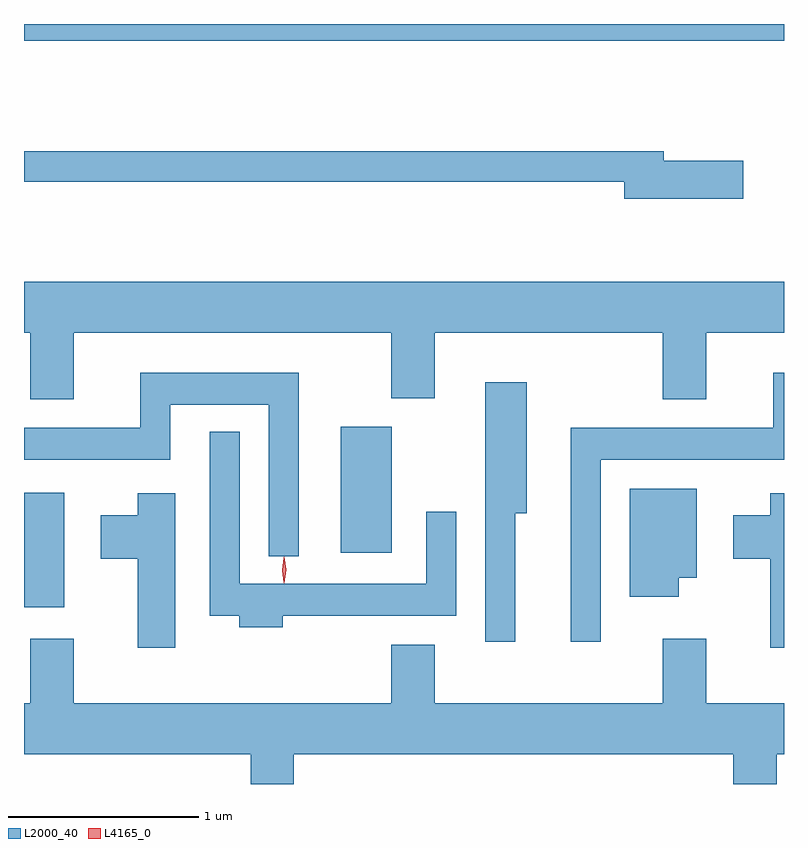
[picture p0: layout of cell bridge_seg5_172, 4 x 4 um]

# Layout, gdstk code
import gdstk
lib = gdstk.Library(unit=1e-6, precision=1e-09)
def R(c, l, rs):  # rectangles x0, y0, x1, y1
    for r in rs: c.add(gdstk.rectangle(r[:2], r[2:], *l))
def P(c, l, *ps):  # polygons
    for p in ps: c.add(gdstk.Polygon(p, *l))
L2000_40 = (2000, 40)
L4165_0 = (4165, 0)

bridge_seg5_172 = lib.new_cell('bridge_seg5_172')
R(bridge_seg5_172, L2000_40, [(1335.058,1433.151,1335.269,1433.754), (1336.726,1433.436,1336.994,1434.099), (1335.058,1436.131,1339.058,1436.22)])
P(bridge_seg5_172, L2000_40, [(1338.844,1435.499),(1338.424,1435.499),(1338.424,1435.549),(1335.058,1435.549),(1335.058,1435.391),(1338.216,1435.391),(1338.216,1435.301),(1338.844,1435.301)],
  [(1335.319,1434.596),(1336.991,1434.596),(1336.991,1434.251),(1337.219,1434.251),(1337.219,1434.596),(1338.421,1434.596),(1338.421,1434.246),(1338.649,1434.246),(1338.649,1434.596),(1339.058,1434.596),(1339.058,1434.864),(1335.058,1434.864),(1335.058,1434.596),(1335.091,1434.596),(1335.091,1434.246),(1335.319,1434.246)],
  [(1336.504,1434.384),(1335.671,1434.384),(1335.671,1434.094),(1335.058,1434.094),(1335.058,1433.926),(1335.829,1433.926),(1335.829,1434.216),(1336.346,1434.216),(1336.346,1433.418),(1336.504,1433.418)],
  [(1338.094,1433.926),(1339.058,1433.926),(1339.058,1434.384),(1339.001,1434.384),(1339.001,1434.094),(1337.936,1434.094),(1337.936,1432.968),(1338.094,1432.968)],
  [(1337.644,1433.646),(1337.704,1433.646),(1337.704,1434.334),(1337.486,1434.334),(1337.486,1432.968),(1337.644,1432.968)],
  [(1336.419,1433.106),(1337.334,1433.106),(1337.334,1433.653),(1337.176,1433.653),(1337.176,1433.274),(1336.194,1433.274),(1336.194,1434.073),(1336.036,1434.073),(1336.036,1433.106),(1336.191,1433.106),(1336.191,1433.046),(1336.419,1433.046)],
  [(1338.504,1433.306),(1338.599,1433.306),(1338.599,1433.774),(1338.246,1433.774),(1338.246,1433.206),(1338.504,1433.206)],
  [(1335.854,1433.749),(1335.656,1433.749),(1335.656,1433.634),(1335.461,1433.634),(1335.461,1433.406),(1335.656,1433.406),(1335.656,1432.936),(1335.854,1432.936)],
  [(1339.058,1433.749),(1338.986,1433.749),(1338.986,1433.634),(1338.791,1433.634),(1338.791,1433.406),(1338.986,1433.406),(1338.986,1432.936),(1339.058,1432.936)],
  [(1336.479,1432.376),(1338.791,1432.376),(1338.791,1432.22),(1339.019,1432.22),(1339.019,1432.376),(1339.058,1432.376),(1339.058,1432.644),(1338.649,1432.644),(1338.649,1432.984),(1338.421,1432.984),(1338.421,1432.644),(1337.219,1432.644),(1337.219,1432.954),(1336.991,1432.954),(1336.991,1432.644),(1335.319,1432.644),(1335.319,1432.984),(1335.091,1432.984),(1335.091,1432.644),(1335.058,1432.644),(1335.058,1432.376),(1336.251,1432.376),(1336.251,1432.22),(1336.479,1432.22)])
P(bridge_seg5_172, L4165_0, [(1336.427,1433.277),(1336.427,1433.277),(1336.417,1433.347),(1336.427,1433.416),(1336.427,1433.416),(1336.428,1433.416),(1336.437,1433.347),(1336.428,1433.277)],
  [(1336.426,1433.279),(1336.426,1433.28),(1336.416,1433.346),(1336.426,1433.412),(1336.426,1433.413),(1336.426,1433.412),(1336.436,1433.346),(1336.426,1433.28)])

lib.write_gds('bridge_seg5_172.gds')
